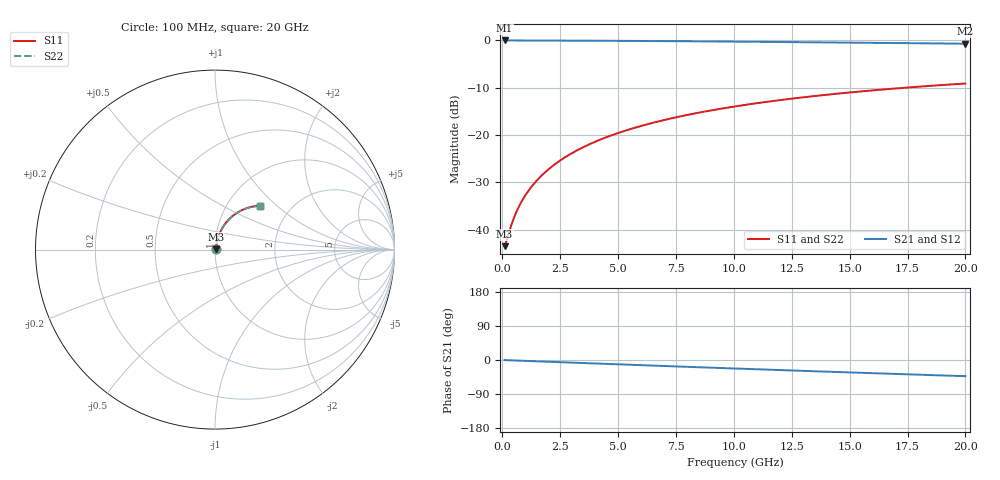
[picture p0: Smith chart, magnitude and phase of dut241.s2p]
! Touchstone file exported from HFSS 2026.1.0
!  File:  C:/ffzhzh/LocalFiles/Ansys_Project_Files/temp_train_TMRDL_241_1782984657_6248.aedt
!  Generated:  05:32:06 PM Jul  2, 2026
!  Design:  TMRDL
!  Project:  temp_train_TMRDL_241_1782984657_6248
! Variables:
!  h_bsmrdl = 2um
!  h_ox = 20um
!  h_rdl = 5um
!  h_sub = 80um
!  h_tmrdl = 3.28um
!  h_tsv = 80um
!  h_via = 3um
!  l_bsmrdl = 300um
!  l_sub = 1080.16um
!  l_tmrdl = 680.16um
!  m_sub = 200um
!  pitch = 24.99um
!  r_tsv = 6um
!  s_tmrdl = 10um
!  w_bsmrdl = 18um
!  w_sub = 500um
!  w_tmrdl = 11.71um
!  x_tsv_center1 = 686.015um
!  x_tsv_center2 = 1004.015um
!  x_tsv_center3 = 1695.885um
!  x_tsv_center4 = 2013.885um
!  x_tsv_center5 = 2705.755um
!  x_tsv_center6 = 3023.755um
# GHz S MA R 50.000000
! Terminal data exported
! Port[1] = TM_RDL1_1_T1
! Port[2] = TM_RDL1_1_T2
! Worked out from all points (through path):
!   200 points, 100 MHz to 20 GHz, reference 50 ohm
!   highest |S21| = -0.05 dB at 100 MHz (marker M1); lowest = -0.7 dB at 20 GHz (marker M2)
!   group delay of S21, straight-line fit = 5.93 ps
!   lowest |S11| = -43.4 dB at 100 MHz (marker M3), VSWR 1.01, Z = 50.6 + j0.237 ohm
!   |S11| at or under -10 dB: start of sweep to 17.46 GHz
!   |S22| runs from -43.4 to -9.1 dB; largest |S21 - S12| = 2.7e-15
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0.1  0.006724 20.4  0.9937 -0.2  0.9937 -0.2  0.006724 20.4
! Gamma 0 0 0 0
! Port Impedance 50 0 50 0
0.2  0.00794 35.8  0.9936 -0.5  0.9936 -0.5  0.00794 35.8
0.4  0.0114 53.0  0.9932 -1.0  0.9932 -1.0  0.0114 53.0
0.6  0.01525 61.2  0.9929 -1.4  0.9929 -1.4  0.01525 61.2
0.7  0.01722 63.8  0.9927 -1.7  0.9927 -1.7  0.01722 63.8
0.9  0.02119 67.6  0.9924 -2.1  0.9924 -2.1  0.02119 67.6
1.1  0.0252 70.1  0.9922 -2.6  0.9922 -2.6  0.0252 70.1
1.3  0.02925 71.8  0.992 -3.0  0.992 -3.0  0.02925 71.8
1.7  0.03742 73.9  0.9915 -3.9  0.9915 -3.9  0.03742 73.9
2.2  0.04771 75.1  0.9908 -5.1  0.9908 -5.1  0.04771 75.1
2.8  0.06009 75.5  0.9898 -6.5  0.9898 -6.5  0.06009 75.5
3.5  0.07448 75.2  0.9884 -8.0  0.9884 -8.0  0.07449 75.1
4.2  0.08877 74.4  0.9868 -9.6  0.9868 -9.6  0.08877 74.4
5  0.1049 73.2  0.9847 -11.4  0.9847 -11.4  0.1049 73.2
5.9  0.1228 71.7  0.982 -13.4  0.982 -13.4  0.1228 71.6
6.8  0.1403 70.0  0.9789 -15.4  0.9789 -15.4  0.1403 70.0
8.3  0.1686 67.1  0.9733 -18.7  0.9733 -18.7  0.1686 67.1
10.1  0.2011 63.5  0.9658 -22.6  0.9658 -22.6  0.2011 63.5
11.7  0.2286 60.3  0.9587 -26.0  0.9587 -26.0  0.2286 60.3
13.4  0.2563 56.9  0.9507 -29.5  0.9507 -29.5  0.2563 56.9
16.7  0.3057 50.5  0.9347 -36.2  0.9347 -36.2  0.3058 50.5
20  0.3493 44.3  0.9185 -42.7  0.9185 -42.7  0.3493 44.3
